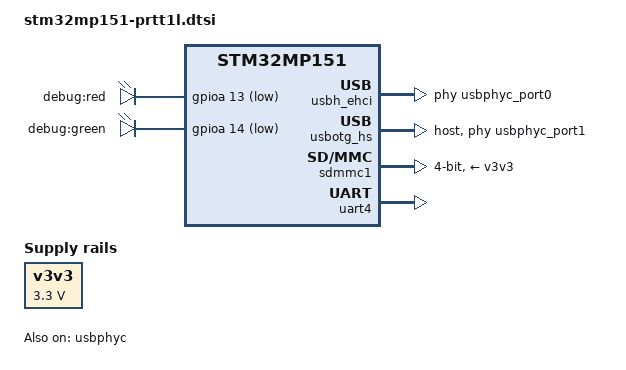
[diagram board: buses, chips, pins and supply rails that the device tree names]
// SPDX-License-Identifier: (GPL-2.0-or-later OR BSD-3-Clause)
// SPDX-FileCopyrightText: 2021 David Jander, Protonic Holland
// SPDX-FileCopyrightText: 2021 Oleksij Rempel, Pengutronix

#include <dt-bindings/gpio/gpio.h>
#include <dt-bindings/input/input.h>
#include <arm/stm32mp151.dtsi>
#include <arm/stm32mp15-pinctrl.dtsi>
#include <arm/stm32mp15xxad-pinctrl.dtsi>

#include "stm32mp151.dtsi"

/ {
	chosen {
		stdout-path = "serial0:115200n8";
	};

	aliases {
		serial0 = &uart4;
		ethernet0 = &ethernet0;
	};

	v3v3: fixed-regulator-v3v3 {
		compatible = "regulator-fixed";
		regulator-name = "v3v3";
		regulator-min-microvolt = <3300000>;
		regulator-max-microvolt = <3300000>;
	};

	led {
		compatible = "gpio-leds";

		led-0 {
			label = "debug:red";
			gpios = <&gpioa 13 GPIO_ACTIVE_LOW>;
		};

		led-1 {
			label = "debug:green";
			gpios = <&gpioa 14 GPIO_ACTIVE_LOW>;
			linux,default-trigger = "heartbeat";
		};
	};
};

&usbh_ehci {
	phys = <&usbphyc_port0>;
	phy-names = "usb";
	status = "okay";
};

&usbotg_hs {
	dr_mode = "host";
	pinctrl-0 = <&usbotg_hs_pins_a>;
	pinctrl-names = "default";
	phys = <&usbphyc_port1 0>;
	phy-names = "usb2-phy";
	status = "okay";
	g-tx-fifo-size = <128 128 128 16>;
};

&usbphyc {
	status = "okay";
};

&usbphyc_port1 {
	phy-supply = <&v3v3>;
};

&sdmmc1 {
	pinctrl-names = "default";
	pinctrl-0 = <&sdmmc1_b4_pins_a>;
	st,neg-edge;
	bus-width = <4>;
	sd-uhs-sdr12;
	sd-uhs-sdr25;
	sd-uhs-sdr50;
	sd-uhs-ddr50;
	vmmc-supply = <&v3v3>;
	vqmmc-supply = <&v3v3>;
	status = "okay";
};

&sdmmc1_b4_pins_a {
	pins1 {
		bias-pull-up;
	};
	pins2 {
		bias-pull-up;
	};
};

&uart4 {
	pinctrl-names = "default";
	pinctrl-0 = <&uart4_pins_a>;
	status = "okay";
};

&uart4_pins_a {
	pins1 {
		pinmux = <STM32_PINMUX('B', 9, AF8)>; /* UART4_TX */
		bias-disable;
		drive-push-pull;
		slew-rate = <0>;
	};
	pins2 {
		pinmux = <STM32_PINMUX('B', 2, AF8)>; /* UART4_RX */
		bias-pull-up;
	};
};
